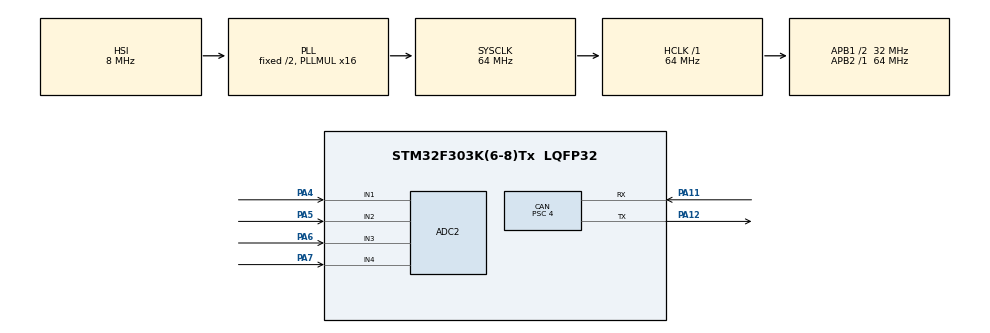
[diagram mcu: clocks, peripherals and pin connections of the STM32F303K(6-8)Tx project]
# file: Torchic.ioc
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Mcu.Family=STM32F3
PA6.Mode=IN3-Single-Ended
ADC2.OffsetNumber-2\#ChannelRegularConversion=ADC_OFFSET_NONE
RCC.CortexFreq_Value=64000000
PA7.Mode=IN4-Single-Ended
PF0\ /\ OSC_IN.Mode=HSE-External-Oscillator
ADC2.Offset-3\#ChannelRegularConversion=0
ADC2.SamplingTime-1\#ChannelRegularConversion=ADC_SAMPLETIME_61CYCLES_5
ADC2.Channel-0\#ChannelRegularConversion=ADC_CHANNEL_1
ADC2.Rank-3\#ChannelRegularConversion=4
CAN.CalculateBaudRate=500000
RCC.SYSCLKSourceVirtual=RCC_SYSCLKSOURCE_PLLCLK
PA11.Mode=CAN_Activate
RCC.APB1CLKDivider=RCC_HCLK_DIV2
CAN.CalculateTimeBit=2000.00
ProjectManager.StackSize=0x400
PA13.Signal=SYS_JTMS-SWDIO
ADC2.OffsetNumber-3\#ChannelRegularConversion=ADC_OFFSET_NONE
ADC2.SamplingTimeOPAMP-1\#ChannelRegularConversion=ADC_SAMPLETIME_7CYCLES_5
PA12.Signal=CAN_TX
CAN.BS2=CAN_BS2_2TQ
CAN.Prescaler=4
CAN.BS1=CAN_BS1_13TQ
ADC2.SamplingTimeOPAMP-3\#ChannelRegularConversion=ADC_SAMPLETIME_7CYCLES_5
ADC2.ContinuousConvMode=ENABLE
PA4.Mode=IN1-Single-Ended
NVIC.DMA1_Channel2_IRQn=true\:1\:0\:true\:false\:true\:false\:true
ProjectManager.TargetToolchain=STM32CubeIDE
ADC2.DMAContinuousRequests=ENABLE
RCC.HCLKFreq_Value=64000000
Dma.ADC2.0.Direction=DMA_PERIPH_TO_MEMORY
Dma.ADC2.0.MemDataAlignment=DMA_MDATAALIGN_HALFWORD
RCC.APB2TimFreq_Value=64000000
Dma.ADC2.0.MemInc=DMA_MINC_ENABLE
ADC2.EOCSelection=ADC_EOC_SEQ_CONV
PF1\ /\ OSC_OUT.Signal=RCC_OSC_OUT
RCC.AHBFreq_Value=64000000
Dma.ADC2.0.Priority=DMA_PRIORITY_LOW
ADC2.OffsetNumber-1\#ChannelRegularConversion=ADC_OFFSET_NONE
PA5.Signal=ADC2_IN2
RCC.HSE_VALUE=16000000
ADC2.OffsetNumber-0\#ChannelRegularConversion=ADC_OFFSET_NONE
board=custom
RCC.PLLMUL=RCC_PLL_MUL16
ADC2.Channel-2\#ChannelRegularConversion=ADC_CHANNEL_3
Dma.ADC2.0.PeriphInc=DMA_PINC_DISABLE
ADC2.Offset-1\#ChannelRegularConversion=0
RCC.APB2Freq_Value=64000000
PF0\ /\ OSC_IN.Signal=RCC_OSC_IN
VP_TIM2_VS_ClockSourceINT.Mode=Internal
ADC2.SamplingTimeOPAMP-2\#ChannelRegularConversion=ADC_SAMPLETIME_7CYCLES_5
PA14.Mode=Serial_Wire
NVIC.TIM2_IRQn=true\:0\:0\:true\:false\:true\:true\:true
ADC2.SamplingTime-3\#ChannelRegularConversion=ADC_SAMPLETIME_61CYCLES_5
TIM2.Period=399
PA13.Mode=Serial_Wire
Mcu.Name=STM32F303K(6-8)Tx
CAN.CalculateTimeQuantum=125.0
PA4.Signal=ADC2_IN1
RCC.SYSCLKFreq_VALUE=64000000
Mcu.Package=LQFP32
TIM2.Prescaler=31999
PA6.Signal=ADC2_IN3
ADC2.Offset-0\#ChannelRegularConversion=0
PA12.Mode=CAN_Activate
ADC2.NbrOfConversionFlag=1
PA11.Signal=CAN_RX
ADC2.Channel-1\#ChannelRegularConversion=ADC_CHANNEL_2
ADC2.Offset-2\#ChannelRegularConversion=0
PA14.Signal=SYS_JTCK-SWCLK
ProjectManager.HeapSize=0x200
ADC2.SamplingTime-0\#ChannelRegularConversion=ADC_SAMPLETIME_61CYCLES_5
Dma.ADC2.0.Mode=DMA_CIRCULAR
RCC.HSI_VALUE=8000000
NVIC.PriorityGroup=NVIC_PRIORITYGROUP_3
ADC2.SamplingTime-2\#ChannelRegularConversion=ADC_SAMPLETIME_61CYCLES_5
Dma.ADC2.0.PeriphDataAlignment=DMA_PDATAALIGN_HALFWORD
ADC2.NbrOfConversion=4
ADC2.Rank-1\#ChannelRegularConversion=2
RCC.APB1TimFreq_Value=64000000
ADC2.Rank-2\#ChannelRegularConversion=3
ADC2.Rank-0\#ChannelRegularConversion=1
Dma.Request0=ADC2
RCC.APB1Freq_Value=32000000
Dma.ADC2.0.Instance=DMA1_Channel2
ADC2.Channel-3\#ChannelRegularConversion=ADC_CHANNEL_4
PF1\ /\ OSC_OUT.Mode=HSE-External-Oscillator
PA5.Mode=IN2-Single-Ended
PA7.Signal=ADC2_IN4

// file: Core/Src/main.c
/* USER CODE BEGIN Header */
/**
  ******************************************************************************
  * @file           : main.c
  * @brief          : Main program body
  ******************************************************************************
  * @attention
  *
  * <h2><center>&copy; Copyright (c) 2021 STMicroelectronics.
  * All rights reserved.</center></h2>
  *
  * This software component is licensed by ST under BSD 3-Clause license,
  * the "License"; You may not use this file except in compliance with the
  * License. You may obtain a copy of the License at:
  *                        opensource.org/licenses/BSD-3-Clause
  *
  ******************************************************************************
  */
/* USER CODE END Header */
#include "main.h"

/* USER CODE BEGIN Includes */
#include "string.h"
/* USER CODE END Includes */

/* USER CODE BEGIN PD */
#define ADC2V	0.0008058608F // 3.3/4065
/* USER CODE END PD */

ADC_HandleTypeDef hadc2;
DMA_HandleTypeDef hdma_adc2;

CAN_HandleTypeDef hcan;

TIM_HandleTypeDef htim2;

/* USER CODE BEGIN PV */
uint16_t ADC2ConvertedValues[256];
float temperature[4] = { 0.0, 0.0, 0.0, 0.0};
float temperature_coefficients[7] = { 0.138169980083766, -1.217224803711306, 4.247427897249789,
					-7.514843765988409, 7.207695652465472, -3.996991313967717, 1.592960984517588};
uint32_t sum = 0;
float mean = 0;
float offset[4] = {0.0, 0.0, 0.0, 0.0};
uint8_t temp_bytes1[4];
uint8_t temp_bytes2[4];
uint8_t IDs[2] = {0x02, 0x41};			// 0x42, 0x43 for the other board
uint8_t Data[8];
uint32_t TxMailBox = 0;
CAN_TxHeaderTypeDef TxHeader;
CAN_FilterTypeDef FilterConfig;

/* USER CODE END PV */

void SystemClock_Config(void);
static void MX_GPIO_Init(void);
static void MX_DMA_Init(void);
static void MX_CAN_Init(void);
static void MX_ADC2_Init(void);
static void MX_TIM2_Init(void);

int main(void)
{

  /* MCU Configuration--------------------------------------------------------*/

  /* Reset of all peripherals, Initializes the Flash interface and the Systick. */
  HAL_Init();

  /* Configure the system clock */
  SystemClock_Config();

  /* Initialize all configured peripherals */
  MX_GPIO_Init();
  MX_DMA_Init();
  MX_CAN_Init();
  MX_ADC2_Init();
  MX_TIM2_Init();
  /* USER CODE BEGIN 2 */
  hcan.Instance->MCR = 0x60; // important for debugging canbus, allows for normal operation during debugging
  HAL_CAN_Start(&hcan);
  HAL_ADC_Start_DMA(&hadc2, (uint32_t*)ADC2ConvertedValues,256);
  //HAL_TIM_Base_Start_IT(&htim2);
  //__HAL_TIM_SET_COUNTER(&htim2, 0);
  /* USER CODE END 2 */

  /* Infinite loop */
  /* USER CODE BEGIN WHILE */
  while (1)
  {
	 /* for (uint8_t i=0; i < 2; ++i) { 										//looping through CAN messages and sending data acquired

	  			TxHeader.StdId = IDs[i];
	  			float2Bytes(temperature[i], &temp_bytes1[0]); 						//converting the floats to packets of bytes
	  			float2Bytes(temperature[i], &temp_bytes2[0]);

	  			for (uint8_t j=0 ; j < 4; j++) {

 					Data[3-j] = temp_bytes1[j]; 									//writing down for the data buffer
  					Data[7-j] = temp_bytes2[j];
  				}

  				HAL_CAN_AddTxMessage(&hcan, &TxHeader, Data, &TxMailBox ); 	// load message to mailbox
  				while (HAL_CAN_IsTxMessagePending( &hcan, TxMailBox));		//waiting till message gets through
	  }
	  HAL_Delay(200); */
    /* USER CODE END WHILE */

  }
}

void SystemClock_Config(void)
{
  RCC_OscInitTypeDef RCC_OscInitStruct = {0};
  RCC_ClkInitTypeDef RCC_ClkInitStruct = {0};
  RCC_PeriphCLKInitTypeDef PeriphClkInit = {0};

  /** Initializes the RCC Oscillators according to the specified parameters
  * in the RCC_OscInitTypeDef structure.
  */
  RCC_OscInitStruct.OscillatorType = RCC_OSCILLATORTYPE_HSI;
  RCC_OscInitStruct.HSIState = RCC_HSI_ON;
  RCC_OscInitStruct.HSICalibrationValue = RCC_HSICALIBRATION_DEFAULT;
  RCC_OscInitStruct.PLL.PLLState = RCC_PLL_ON;
  RCC_OscInitStruct.PLL.PLLSource = RCC_PLLSOURCE_HSI;
  RCC_OscInitStruct.PLL.PLLMUL = RCC_PLL_MUL16;
  if (HAL_RCC_OscConfig(&RCC_OscInitStruct) != HAL_OK)
  {
    Error_Handler();
  }
  /** Initializes the CPU, AHB and APB buses clocks
  */
  RCC_ClkInitStruct.ClockType = RCC_CLOCKTYPE_HCLK|RCC_CLOCKTYPE_SYSCLK
                              |RCC_CLOCKTYPE_PCLK1|RCC_CLOCKTYPE_PCLK2;
  RCC_ClkInitStruct.SYSCLKSource = RCC_SYSCLKSOURCE_PLLCLK;
  RCC_ClkInitStruct.AHBCLKDivider = RCC_SYSCLK_DIV1;
  RCC_ClkInitStruct.APB1CLKDivider = RCC_HCLK_DIV2;
  RCC_ClkInitStruct.APB2CLKDivider = RCC_HCLK_DIV1;

  if (HAL_RCC_ClockConfig(&RCC_ClkInitStruct, FLASH_LATENCY_2) != HAL_OK)
  {
    Error_Handler();
  }
  PeriphClkInit.PeriphClockSelection = RCC_PERIPHCLK_ADC12;
  PeriphClkInit.Adc12ClockSelection = RCC_ADC12PLLCLK_DIV1;
  if (HAL_RCCEx_PeriphCLKConfig(&PeriphClkInit) != HAL_OK)
  {
    Error_Handler();
  }
}

static void MX_ADC2_Init(void)
{

  ADC_ChannelConfTypeDef sConfig = {0};

  /** Common config
  */
  hadc2.Instance = ADC2;
  hadc2.Init.ClockPrescaler = ADC_CLOCK_ASYNC_DIV1;
  hadc2.Init.Resolution = ADC_RESOLUTION_12B;
  hadc2.Init.ScanConvMode = ADC_SCAN_ENABLE;
  hadc2.Init.ContinuousConvMode = ENABLE;
  hadc2.Init.DiscontinuousConvMode = DISABLE;
  hadc2.Init.ExternalTrigConvEdge = ADC_EXTERNALTRIGCONVEDGE_NONE;
  hadc2.Init.ExternalTrigConv = ADC_SOFTWARE_START;
  hadc2.Init.DataAlign = ADC_DATAALIGN_RIGHT;
  hadc2.Init.NbrOfConversion = 4;
  hadc2.Init.DMAContinuousRequests = ENABLE;
  hadc2.Init.EOCSelection = ADC_EOC_SEQ_CONV;
  hadc2.Init.LowPowerAutoWait = DISABLE;
  hadc2.Init.Overrun = ADC_OVR_DATA_OVERWRITTEN;
  if (HAL_ADC_Init(&hadc2) != HAL_OK)
  {
    Error_Handler();
  }
  /** Configure Regular Channel
  */
  sConfig.Channel = ADC_CHANNEL_1;
  sConfig.Rank = ADC_REGULAR_RANK_1;
  sConfig.SingleDiff = ADC_SINGLE_ENDED;
  sConfig.SamplingTime = ADC_SAMPLETIME_61CYCLES_5;
  sConfig.OffsetNumber = ADC_OFFSET_NONE;
  sConfig.Offset = 0;
  if (HAL_ADC_ConfigChannel(&hadc2, &sConfig) != HAL_OK)
  {
    Error_Handler();
  }
  /** Configure Regular Channel
  */
  sConfig.Channel = ADC_CHANNEL_2;
  sConfig.Rank = ADC_REGULAR_RANK_2;
  if (HAL_ADC_ConfigChannel(&hadc2, &sConfig) != HAL_OK)
  {
    Error_Handler();
  }
  /** Configure Regular Channel
  */
  sConfig.Channel = ADC_CHANNEL_3;
  sConfig.Rank = ADC_REGULAR_RANK_3;
  if (HAL_ADC_ConfigChannel(&hadc2, &sConfig) != HAL_OK)
  {
    Error_Handler();
  }
  /** Configure Regular Channel
  */
  sConfig.Channel = ADC_CHANNEL_4;
  sConfig.Rank = ADC_REGULAR_RANK_4;
  if (HAL_ADC_ConfigChannel(&hadc2, &sConfig) != HAL_OK)
  {
    Error_Handler();
  }

}

static void MX_CAN_Init(void)
{

  hcan.Instance = CAN;
  hcan.Init.Prescaler = 4;
  hcan.Init.Mode = CAN_MODE_NORMAL;
  hcan.Init.SyncJumpWidth = CAN_SJW_1TQ;
  hcan.Init.TimeSeg1 = CAN_BS1_13TQ;
  hcan.Init.TimeSeg2 = CAN_BS2_2TQ;
  hcan.Init.TimeTriggeredMode = DISABLE;
  hcan.Init.AutoBusOff = DISABLE;
  hcan.Init.AutoWakeUp = DISABLE;
  hcan.Init.AutoRetransmission = DISABLE;
  hcan.Init.ReceiveFifoLocked = DISABLE;
  hcan.Init.TransmitFifoPriority = DISABLE;
  if (HAL_CAN_Init(&hcan) != HAL_OK)
  {
    Error_Handler();
  }
  /* USER CODE BEGIN CAN_Init 2 */
  FilterConfig.FilterIdHigh = 0x0000;
  FilterConfig.FilterIdLow = 0x0000;
  FilterConfig.FilterMaskIdHigh = 0x0000;
  FilterConfig.FilterMaskIdLow = 0x0000;
  FilterConfig.FilterFIFOAssignment = CAN_FILTER_FIFO0;
  FilterConfig.FilterBank = 13;
  FilterConfig.FilterMode = CAN_FILTERMODE_IDMASK;
  FilterConfig.FilterScale = CAN_FILTERSCALE_16BIT;
  FilterConfig.FilterActivation = CAN_FILTER_ENABLE;
  HAL_CAN_ConfigFilter(&hcan, &FilterConfig);

  //Configuring TX:
  TxHeader.StdId = 0x00;
  //TxHeader.ExtId = 0x01;
  TxHeader.RTR = CAN_RTR_DATA; 	 			// want data frame
  TxHeader.IDE = CAN_ID_STD;	 			// want extended frame
  TxHeader.DLC = 8;			 	 			// amounts of bytes u sending
  TxHeader.TransmitGlobalTime = DISABLE;
  /* USER CODE END CAN_Init 2 */

}

static void MX_TIM2_Init(void)
{

  TIM_ClockConfigTypeDef sClockSourceConfig = {0};
  TIM_MasterConfigTypeDef sMasterConfig = {0};

  htim2.Instance = TIM2;
  htim2.Init.Prescaler = 31999;
  htim2.Init.CounterMode = TIM_COUNTERMODE_UP;
  htim2.Init.Period = 399;
  htim2.Init.ClockDivision = TIM_CLOCKDIVISION_DIV1;
  htim2.Init.AutoReloadPreload = TIM_AUTORELOAD_PRELOAD_DISABLE;
  if (HAL_TIM_Base_Init(&htim2) != HAL_OK)
  {
    Error_Handler();
  }
  sClockSourceConfig.ClockSource = TIM_CLOCKSOURCE_INTERNAL;
  if (HAL_TIM_ConfigClockSource(&htim2, &sClockSourceConfig) != HAL_OK)
  {
    Error_Handler();
  }
  sMasterConfig.MasterOutputTrigger = TIM_TRGO_RESET;
  sMasterConfig.MasterSlaveMode = TIM_MASTERSLAVEMODE_DISABLE;
  if (HAL_TIMEx_MasterConfigSynchronization(&htim2, &sMasterConfig) != HAL_OK)
  {
    Error_Handler();
  }

}

static void MX_DMA_Init(void)
{

  /* DMA controller clock enable */
  __HAL_RCC_DMA1_CLK_ENABLE();

  /* DMA interrupt init */
  /* DMA1_Channel2_IRQn interrupt configuration */
  HAL_NVIC_SetPriority(DMA1_Channel2_IRQn, 1, 0);
  HAL_NVIC_EnableIRQ(DMA1_Channel2_IRQn);

}

static void MX_GPIO_Init(void)
{

  /* GPIO Ports Clock Enable */
  __HAL_RCC_GPIOF_CLK_ENABLE();
  __HAL_RCC_GPIOA_CLK_ENABLE();

}

/* USER CODE BEGIN 4 */
void float2Bytes(float val, uint8_t *bytes_array){
  // Create union of shared memory space
  union {
    float float_variable;
    uint8_t temp_array[4];
  } u;
  // Overite bytes of union with float variable
  u.float_variable = val;
  // Assign bytes to input array
  memcpy(bytes_array, u.temp_array, 4);
}

void HAL_ADC_ConvCpltCallback(ADC_HandleTypeDef* hadc) {
	for (uint8_t i=0; i < 4; i++) {
		sum = 0;
		mean = 0;

		for(uint8_t j=0; j < 16; j++) {
			sum += ADC2ConvertedValues[i + 4*j];
		}

		mean = sum/16.0;

		//temperature[i] = mean*ADC2V;    		//for debugging

			temperature[i] = temperature_coefficients[0];
			for (uint8_t k = 0; k < 9; k++ ) {
				temperature[i] = temperature[i]*mean + temperature_coefficients[k];
			}
			temperature[i] -= offset[i];

	}
}

/*void HAL_TIM_PeriodElapsedCallback(TIM_HandleTypeDef *htim) {

	__HAL_TIM_SET_COUNTER(&htim2, 0);
} */
/* USER CODE END 4 */

void Error_Handler(void)
{
  __disable_irq();
  while (1)
  {
  }
}

/************************ (C) COPYRIGHT STMicroelectronics *****END OF FILE****/
